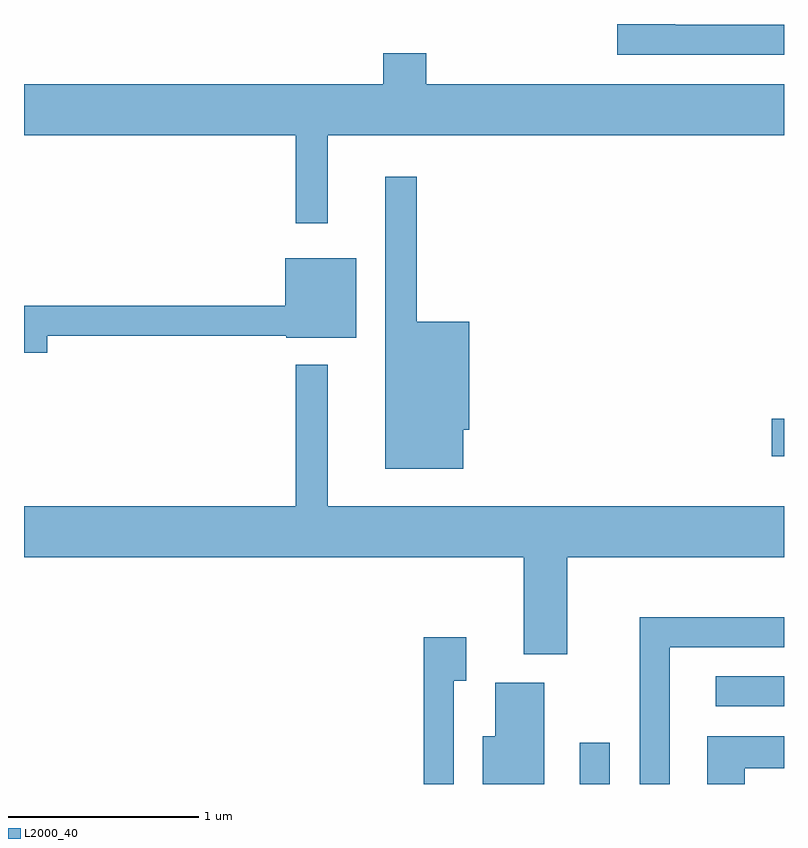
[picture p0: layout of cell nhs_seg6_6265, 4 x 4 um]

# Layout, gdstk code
import gdstk
lib = gdstk.Library(unit=1e-6, precision=1e-09)
def R(c, l, rs):  # rectangles x0, y0, x1, y1
    for r in rs: c.add(gdstk.rectangle(r[:2], r[2:], *l))
def P(c, l, *ps):  # polygons
    for p in ps: c.add(gdstk.Polygon(p, *l))
L2000_40 = (2000, 40)

nhs_seg6_6265 = lib.new_cell('nhs_seg6_6265')
R(nhs_seg6_6265, L2000_40, [(378.536,1562.162,378.694,1562.378), (379.253,1562.571,379.611,1562.729), (379.546,1563.886,379.611,1564.084), (377.003,1566.161,378.228,1566.162)])
P(nhs_seg6_6265, L2000_40, [(379.611,1566.159),(379.039,1566.159),(379.039,1566.162),(378.733,1566.162),(378.733,1566.001),(379.611,1566.001)],
  [(377.209,1565.576),(379.611,1565.576),(379.611,1565.844),(377.729,1565.844),(377.729,1566.009),(377.501,1566.009),(377.501,1565.844),(375.611,1565.844),(375.611,1565.576),(377.041,1565.576),(377.041,1565.113),(377.209,1565.113)],
  [(377.924,1564.026),(377.954,1564.026),(377.954,1564.594),(377.679,1564.594),(377.679,1565.358),(377.511,1565.358),(377.511,1563.821),(377.924,1563.821)],
  [(375.734,1564.521),(376.99,1564.521),(376.99,1564.511),(377.359,1564.511),(377.359,1564.929),(376.986,1564.929),(376.986,1564.679),(375.611,1564.679),(375.611,1564.431),(375.734,1564.431)],
  [(378.469,1563.356),(379.611,1563.356),(379.611,1563.624),(377.209,1563.624),(377.209,1564.368),(377.041,1564.368),(377.041,1563.624),(375.611,1563.624),(375.611,1563.356),(378.241,1563.356),(378.241,1562.846),(378.469,1562.846)],
  [(379.009,1562.881),(379.611,1562.881),(379.611,1563.039),(378.851,1563.039),(378.851,1562.162),(379.009,1562.162)],
  [(377.874,1562.706),(377.939,1562.706),(377.939,1562.934),(377.716,1562.934),(377.716,1562.162),(377.874,1562.162)],
  [(378.349,1562.694),(378.091,1562.694),(378.091,1562.414),(378.026,1562.414),(378.026,1562.162),(378.349,1562.162)],
  [(379.404,1562.246),(379.611,1562.246),(379.611,1562.414),(379.206,1562.414),(379.206,1562.162),(379.404,1562.162)])

lib.write_gds('nhs_seg6_6265.gds')
